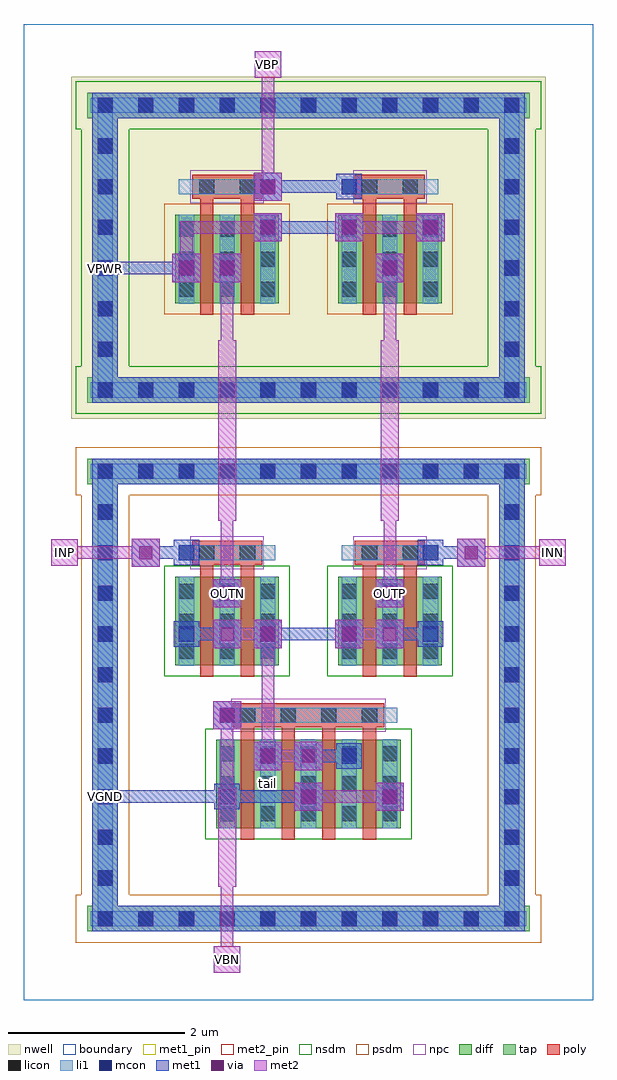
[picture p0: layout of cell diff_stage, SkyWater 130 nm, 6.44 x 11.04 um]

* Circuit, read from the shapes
.subckt diff_stage INN INP OUTN OUTP VBN VBP VGND VPWR tail
XM1 OUTN INP tail VGND sky130_fd_pr__nfet_01v8 w=1 l=0.15 m=2
XM2 tail VBN VGND VGND sky130_fd_pr__nfet_01v8 w=1 l=0.15 m=4
XM3 OUTP INN tail VGND sky130_fd_pr__nfet_01v8 w=1 l=0.15 m=2
XM4 OUTN VBP VPWR VPWR sky130_fd_pr__pfet_01v8 w=1 l=0.15 m=2
XM5 OUTP VBP VPWR VPWR sky130_fd_pr__pfet_01v8 w=1 l=0.15 m=2
.ends

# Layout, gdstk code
import gdstk
lib = gdstk.Library(unit=1e-6, precision=1e-09)
def R(c, l, rs):  # rectangles x0, y0, x1, y1
    for r in rs: c.add(gdstk.rectangle(r[:2], r[2:], *l))
def A(c, l, x, y, w, h, nx, ny, dx, dy):  # array of equal rectangles
    R(c, l, [(x+i*dx, y+j*dy, x+i*dx+w, y+j*dy+h) for i in range(nx) for j in range(ny)])
nwell = (64, 20)
diff = (65, 20)
tap = (65, 44)
poly = (66, 20)
licon = (66, 44)
li1 = (67, 20)
mcon = (67, 44)
met1_pin = (68, 16)
met1 = (68, 20)
via = (68, 44)
met2_pin = (69, 16)
met2 = (69, 20)
nsdm = (93, 44)
psdm = (94, 20)
npc = (95, 20)
boundary = (235, 4)

diff_stage = lib.new_cell('diff_stage')
R(diff_stage, nwell, [(0.535,6.575,5.905,10.445)])
R(diff_stage, diff, [(2.175,1.945,4.265,2.945), (1.715,3.785,2.885,4.785), (3.555,3.785,4.725,4.785), (1.715,7.88,2.885,8.88), (3.555,7.88,4.725,8.88)])
R(diff_stage, tap, [(0.715,0.775,5.725,1.065), (0.775,0.775,1.065,6.125), (5.375,0.775,5.665,6.125), (0.715,5.835,5.725,6.125), (0.715,6.755,5.725,7.045), (0.775,6.755,1.065,10.265), (5.375,6.755,5.665,10.265), (0.715,9.975,5.725,10.265)])
A(diff_stage, poly, 2.455, 1.815, 0.15, 1.405, 4, 1, 0.46, 0)
R(diff_stage, poly, [(2.365,3.085,4.075,3.355), (1.995,3.655,2.145,5.06), (2.455,3.655,2.605,5.06), (3.835,3.655,3.985,5.06), (4.295,3.655,4.445,5.06), (1.905,4.925,2.695,5.195), (3.745,4.925,4.535,5.195), (1.995,7.75,2.145,9.2), (2.455,7.75,2.605,9.2), (3.835,7.75,3.985,9.2), (4.295,7.75,4.445,9.2), (1.905,9.065,2.695,9.335), (3.745,9.065,4.535,9.335)])
A(diff_stage, licon, 0.835, 0.835, 0.17, 0.17, 11, 2, 0.46, 5.06)
A(diff_stage, licon, 0.835, 1.295, 0.17, 0.17, 1, 10, 0, 0.46)
A(diff_stage, licon, 5.435, 1.295, 0.17, 0.17, 1, 10, 0, 0.46)
A(diff_stage, licon, 2.215, 2.02, 0.17, 0.17, 5, 3, 0.46, 0.34)
A(diff_stage, licon, 2.445, 3.135, 0.17, 0.17, 4, 1, 0.46, 0)
A(diff_stage, licon, 1.755, 3.86, 0.17, 0.17, 3, 3, 0.46, 0.34)
A(diff_stage, licon, 3.595, 3.86, 0.17, 0.17, 3, 3, 0.46, 0.34)
A(diff_stage, licon, 0.835, 6.815, 0.17, 0.17, 11, 2, 0.46, 3.22)
A(diff_stage, licon, 0.835, 7.275, 0.17, 0.17, 1, 6, 0, 0.46)
A(diff_stage, licon, 5.435, 7.275, 0.17, 0.17, 1, 6, 0, 0.46)
A(diff_stage, licon, 1.755, 7.955, 0.17, 0.17, 3, 3, 0.46, 0.34)
A(diff_stage, licon, 3.595, 7.955, 0.17, 0.17, 3, 3, 0.46, 0.34)
R(diff_stage, licon, [(1.985,4.975,2.155,5.145), (2.445,4.975,2.615,5.145), (3.825,4.975,3.995,5.145), (4.285,4.975,4.455,5.145), (1.985,9.115,2.155,9.285), (2.445,9.115,2.615,9.285), (3.825,9.115,3.995,9.285), (4.285,9.115,4.455,9.285)])
A(diff_stage, li1, 2.215, 1.94, 0.17, 1.01, 5, 1, 0.46, 0)
A(diff_stage, li1, 1.755, 3.78, 0.17, 1.01, 3, 2, 0.46, 4.095)
A(diff_stage, li1, 3.595, 3.78, 0.17, 1.01, 3, 2, 0.46, 4.095)
R(diff_stage, li1, [(0.755,0.835,5.685,1.005), (0.835,0.835,1.005,6.065), (5.435,0.835,5.605,6.065), (2.215,3.135,4.225,3.305), (1.755,4.975,2.845,5.145), (3.595,4.975,4.685,5.145), (0.755,5.895,5.685,6.065), (0.755,6.815,5.685,6.985), (0.835,6.815,1.005,10.205), (5.435,6.815,5.605,10.205), (1.755,9.115,2.845,9.285), (3.595,9.115,4.685,9.285), (0.755,10.035,5.685,10.205)])
A(diff_stage, mcon, 0.835, 0.835, 0.17, 0.17, 11, 2, 0.46, 5.06)
A(diff_stage, mcon, 0.835, 1.295, 0.17, 0.17, 1, 6, 0, 0.46)
A(diff_stage, mcon, 5.435, 1.295, 0.17, 0.17, 1, 6, 0, 0.46)
A(diff_stage, mcon, 2.215, 2.215, 0.17, 0.17, 3, 1, 0.92, 0)
A(diff_stage, mcon, 0.835, 4.055, 0.17, 0.17, 6, 1, 0.92, 0)
A(diff_stage, mcon, 0.835, 4.515, 0.17, 0.17, 1, 3, 0, 0.46)
A(diff_stage, mcon, 5.435, 4.515, 0.17, 0.17, 1, 3, 0, 0.46)
A(diff_stage, mcon, 0.835, 6.815, 0.17, 0.17, 11, 2, 0.46, 3.22)
A(diff_stage, mcon, 0.835, 7.275, 0.17, 0.17, 1, 6, 0, 0.46)
A(diff_stage, mcon, 5.435, 7.275, 0.17, 0.17, 1, 3, 0, 0.46)
A(diff_stage, mcon, 2.675, 8.655, 0.17, 0.17, 4, 1, 0.92, 0)
R(diff_stage, mcon, [(2.675,2.675,2.845,2.845), (3.595,2.675,3.765,2.845), (2.215,3.135,2.385,3.305), (2.215,4.515,2.385,4.685), (4.055,4.515,4.225,4.685), (1.755,4.975,1.925,5.145), (4.515,4.975,4.685,5.145), (1.755,8.195,1.925,8.365), (2.215,8.195,2.385,8.365), (4.055,8.195,4.225,8.365), (2.675,9.115,2.845,9.285), (3.595,9.115,3.765,9.285), (5.435,9.115,5.605,9.285), (5.435,9.575,5.605,9.745)])
R(diff_stage, met1_pin, [(0.85,2.23,0.99,2.37), (0.85,8.21,0.99,8.35)])
A(diff_stage, met1, 2.155, 2.155, 0.29, 0.29, 3, 1, 0.92, 0)
A(diff_stage, met1, 1.695, 3.995, 0.29, 0.29, 4, 1, 0.92, 0)
A(diff_stage, met1, 2.6, 8.58, 0.32, 0.32, 3, 1, 0.92, 0)
A(diff_stage, met1, 2.615, 8.595, 0.29, 0.29, 3, 1, 0.92, 0)
R(diff_stage, met1, [(0.775,0.775,5.665,1.065), (0.775,0.775,1.065,6.125), (5.375,0.775,5.665,6.125), (3.06,2.14,3.38,2.46), (3.98,2.14,4.3,2.46), (0.85,2.23,0.99,2.37), (0.85,2.23,2.37,2.37), (0.85,2.23,0.99,6.05), (2.23,2.23,3.29,2.37), (2.6,2.6,2.92,2.92), (3.06,2.6,3.38,2.92), (2.615,2.615,2.905,2.905), (3.535,2.615,3.825,2.905), (3.15,2.69,3.75,2.83), (2.14,3.06,2.46,3.38), (2.155,3.075,2.445,3.365), (2.14,3.98,2.46,4.3), (2.6,3.98,2.92,4.3), (3.52,3.98,3.84,4.3), (3.98,3.98,4.3,4.3), (1.77,4.07,2.37,4.21), (2.69,4.07,3.75,4.21), (4.07,4.07,4.67,4.21), (2.14,4.44,2.46,4.76), (3.98,4.44,4.3,4.76), (2.155,4.455,2.445,4.745), (3.995,4.455,4.285,4.745), (1.22,4.9,1.54,5.22), (4.9,4.9,5.22,5.22), (1.695,4.915,1.985,5.205), (4.455,4.915,4.745,5.205), (1.31,4.99,1.91,5.13), (4.53,4.99,5.13,5.13), (0.775,5.835,5.665,6.125), (0.85,5.91,0.99,6.05), (0.775,6.755,5.665,7.045), (0.775,6.755,1.065,10.265), (5.375,6.755,5.665,10.265), (1.68,8.12,2,8.44), (2.14,8.12,2.46,8.44), (3.98,8.12,4.3,8.44), (1.695,8.135,1.985,8.425), (2.155,8.135,2.445,8.425), (3.995,8.135,4.285,8.425), (0.85,8.21,1.91,8.35), (0.85,8.21,0.99,8.35), (0.85,8.21,0.99,10.19), (2.69,8.67,3.75,8.81), (2.6,9.04,2.92,9.36), (2.615,9.055,2.905,9.345), (3.535,9.055,3.825,9.345), (2.69,9.13,3.75,9.27), (0.775,9.975,5.665,10.265), (0.85,10.05,0.99,10.19)])
A(diff_stage, via, 2.685, 8.665, 0.15, 0.15, 3, 1, 0.92, 0)
R(diff_stage, via, [(3.145,2.225,3.295,2.375), (4.065,2.225,4.215,2.375), (2.685,2.685,2.835,2.835), (3.145,2.685,3.295,2.835), (2.225,3.145,2.375,3.295), (2.225,4.065,2.375,4.215), (2.685,4.065,2.835,4.215), (3.605,4.065,3.755,4.215), (4.065,4.065,4.215,4.215), (2.225,4.525,2.375,4.675), (4.065,4.525,4.215,4.675), (1.305,4.985,1.455,5.135), (4.985,4.985,5.135,5.135), (1.765,8.205,1.915,8.355), (2.225,8.205,2.375,8.355), (4.065,8.205,4.215,8.355), (2.685,9.125,2.835,9.275)])
R(diff_stage, met2_pin, [(2.15,0.31,2.45,0.61), (2.14,4.44,2.46,4.76), (3.98,4.44,4.3,4.76), (0.31,4.91,0.61,5.21), (5.83,4.91,6.13,5.21), (2.61,10.43,2.91,10.73)])
A(diff_stage, met2, 2.6, 8.58, 0.32, 0.32, 3, 1, 0.92, 0)
R(diff_stage, met2, [(2.15,0.31,2.45,0.61), (2.23,0.39,2.37,1.45), (2.23,0.39,2.37,0.53), (2.2,1.28,2.4,2.4), (3.06,2.14,3.38,2.46), (3.98,2.14,4.3,2.46), (2.23,2.23,2.37,3.29), (3.15,2.23,4.21,2.37), (2.6,2.6,2.92,2.92), (3.06,2.6,3.38,2.92), (2.69,2.69,2.83,4.21), (2.69,2.69,3.29,2.83), (2.14,3.06,2.46,3.38), (2.14,3.98,2.46,4.3), (2.6,3.98,2.92,4.3), (3.52,3.98,3.84,4.3), (3.98,3.98,4.3,4.3), (2.23,4.07,2.83,4.21), (3.61,4.07,4.21,4.21), (2.14,4.44,2.46,4.76), (3.98,4.44,4.3,4.76), (2.23,4.53,2.37,5.59), (4.07,4.53,4.21,5.59), (1.22,4.9,1.54,5.22), (4.9,4.9,5.22,5.22), (0.31,4.91,0.61,5.21), (5.83,4.91,6.13,5.21), (0.39,4.99,0.53,5.13), (0.39,4.99,1.45,5.13), (4.99,4.99,6.05,5.13), (5.91,4.99,6.05,5.13), (2.2,5.42,2.4,7.46), (4.04,5.42,4.24,7.46), (2.23,7.29,2.37,8.35), (4.07,7.29,4.21,8.35), (1.68,8.12,2,8.44), (2.14,8.12,2.46,8.44), (3.98,8.12,4.3,8.44), (1.77,8.21,1.91,8.81), (1.77,8.67,2.83,8.81), (3.61,8.67,4.67,8.81), (2.6,9.04,2.92,9.36), (2.69,9.13,2.83,10.65), (2.61,10.43,2.91,10.73), (2.69,10.51,2.83,10.65)])
R(diff_stage, nsdm, [(2.05,1.82,4.39,3.07), (1.59,3.66,3.01,4.91), (3.43,3.66,4.85,4.91), (0.59,6.63,5.85,7.17), (0.65,7.17,1.19,9.85), (5.25,7.17,5.79,9.85), (0.59,9.85,5.85,10.39)])
R(diff_stage, psdm, [(0.59,0.65,5.85,1.19), (0.65,1.19,1.19,5.71), (5.25,1.19,5.79,5.71), (0.59,5.71,5.85,6.25), (1.59,7.755,3.01,9.005), (3.43,7.755,4.85,9.005)])
R(diff_stage, npc, [(2.345,3.035,4.095,3.405), (1.885,4.875,2.715,5.245), (3.725,4.875,4.555,5.245), (1.885,9.015,2.715,9.385), (3.725,9.015,4.555,9.385)])
R(diff_stage, boundary, [(0,0,6.44,11.04)])
diff_stage.add(gdstk.Label('tail', (2.76,2.445), layer=67, texttype=5))
diff_stage.add(gdstk.Label('VPWR', (0.92,8.28), layer=68, texttype=5))
diff_stage.add(gdstk.Label('VGND', (0.92,2.3), layer=68, texttype=5))
diff_stage.add(gdstk.Label('INP', (0.46,5.06), layer=69, texttype=5))
diff_stage.add(gdstk.Label('INN', (5.98,5.06), layer=69, texttype=5))
diff_stage.add(gdstk.Label('VBN', (2.3,0.46), layer=69, texttype=5))
diff_stage.add(gdstk.Label('VBP', (2.76,10.58), layer=69, texttype=5))
diff_stage.add(gdstk.Label('OUTP', (4.14,4.6), layer=69, texttype=5))
diff_stage.add(gdstk.Label('OUTN', (2.3,4.6), layer=69, texttype=5))
diff_stage.add(gdstk.Label('VPWR', (0.92,8.28), layer=68, texttype=16))
diff_stage.add(gdstk.Label('VGND', (0.92,2.3), layer=68, texttype=16))
diff_stage.add(gdstk.Label('INP', (0.46,5.06), layer=69, texttype=16))
diff_stage.add(gdstk.Label('INN', (5.98,5.06), layer=69, texttype=16))
diff_stage.add(gdstk.Label('VBN', (2.3,0.46), layer=69, texttype=16))
diff_stage.add(gdstk.Label('VBP', (2.76,10.58), layer=69, texttype=16))
diff_stage.add(gdstk.Label('OUTP', (4.14,4.6), layer=69, texttype=16))
diff_stage.add(gdstk.Label('OUTN', (2.3,4.6), layer=69, texttype=16))

lib.write_gds('diff_stage.gds')
